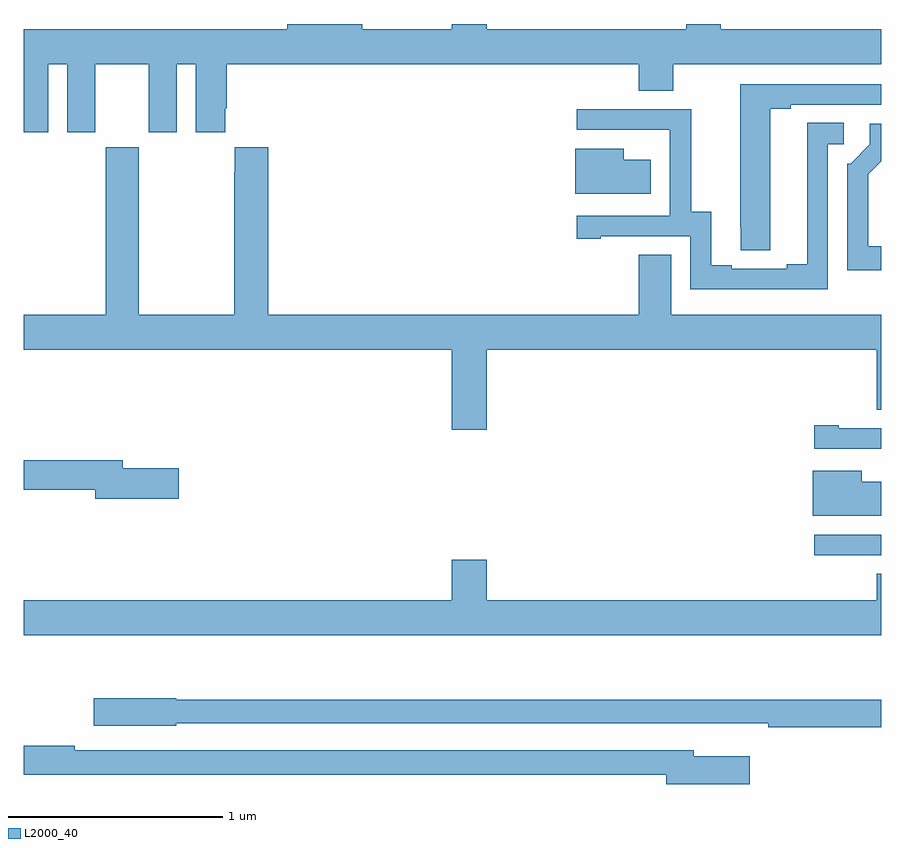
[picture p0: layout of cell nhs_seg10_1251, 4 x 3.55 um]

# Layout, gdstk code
import gdstk
lib = gdstk.Library(unit=1e-6, precision=1e-09)
def R(c, l, rs):  # rectangles x0, y0, x1, y1
    for r in rs: c.add(gdstk.rectangle(r[:2], r[2:], *l))
def P(c, l, *ps):  # polygons
    for p in ps: c.add(gdstk.Polygon(p, *l))
L2000_40 = (2000, 40)

nhs_seg10_1251 = lib.new_cell('nhs_seg10_1251')
R(nhs_seg10_1251, L2000_40, [(178.689,1302.021,179,1302.117)])
P(nhs_seg10_1251, L2000_40, [(178.091,1304.5),(178.091,1304.476),(177.16,1304.476),(177.16,1304.5),(176.996,1304.5),(176.996,1304.476),(176.578,1304.476),(176.578,1304.5),(176.228,1304.5),(176.228,1304.476),(175,1304.476),(175,1303.995),(175.114,1303.995),(175.114,1304.312),(175.202,1304.312),(175.202,1303.995),(175.333,1303.995),(175.333,1304.312),(175.583,1304.312),(175.583,1303.995),(175.714,1303.995),(175.714,1304.312),(175.802,1304.312),(175.802,1303.995),(175.939,1303.995),(175.939,1304.107),(175.946,1304.107),(175.946,1304.312),(177.869,1304.312),(177.869,1304.188),(178.029,1304.188),(178.029,1304.312),(179,1304.312),(179,1304.476),(178.251,1304.476),(178.251,1304.5)],
  [(178.483,1304.104),(178.579,1304.104),(178.579,1304.124),(179,1304.124),(179,1304.22),(178.343,1304.22),(178.343,1303.552),(178.344,1303.552),(178.344,1303.444),(178.483,1303.444)],
  [(178.752,1303.938),(178.825,1303.938),(178.825,1304.039),(178.655,1304.039),(178.655,1303.379),(178.559,1303.379),(178.559,1303.359),(178.303,1303.359),(178.303,1303.374),(178.207,1303.374),(178.207,1303.625),(178.113,1303.625),(178.113,1304.103),(177.579,1304.103),(177.579,1304.007),(178.013,1304.007),(178.013,1304.006),(178.014,1304.006),(178.014,1303.605),(177.579,1303.605),(177.579,1303.497),(177.691,1303.497),(177.691,1303.509),(178.11,1303.509),(178.11,1303.263),(178.752,1303.263)],
  [(179,1303.462),(178.939,1303.462),(178.939,1303.798),(179,1303.859),(179,1304.034),(178.947,1304.034),(178.947,1303.938),(178.857,1303.848),(178.842,1303.848),(178.842,1303.352),(179,1303.352)],
  [(177.16,1302.98),(178.979,1302.98),(178.979,1302.7),(179,1302.7),(179,1303.144),(178.021,1303.144),(178.021,1303.424),(177.869,1303.424),(177.869,1303.144),(176.141,1303.144),(176.141,1303.924),(175.985,1303.924),(175.985,1303.811),(175.981,1303.811),(175.981,1303.144),(175.536,1303.144),(175.536,1303.924),(175.381,1303.924),(175.381,1303.144),(175,1303.144),(175,1302.98),(176.996,1302.98),(176.996,1302.606),(177.16,1302.606)],
  [(177.925,1303.867),(177.799,1303.867),(177.799,1303.918),(177.572,1303.918),(177.572,1303.709),(177.925,1303.709)],
  [(179,1302.615),(178.801,1302.615),(178.801,1302.628),(178.689,1302.628),(178.689,1302.519),(179,1302.519)],
  [(175.723,1302.428),(175.462,1302.428),(175.462,1302.464),(175,1302.464),(175,1302.328),(175.334,1302.328),(175.334,1302.286),(175.723,1302.286)],
  [(179,1302.364),(178.909,1302.364),(178.909,1302.415),(178.682,1302.415),(178.682,1302.206),(179,1302.206)],
  [(179,1301.936),(178.979,1301.936),(178.979,1301.812),(177.16,1301.812),(177.16,1302.001),(176.996,1302.001),(176.996,1301.812),(175,1301.812),(175,1301.648),(179,1301.648)],
  [(179,1301.347),(175.71,1301.347),(175.71,1301.355),(175.326,1301.355),(175.326,1301.225),(175.71,1301.225),(175.71,1301.238),(178.222,1301.238),(178.222,1301.237),(178.474,1301.237),(178.474,1301.218),(179,1301.218)],
  [(178.387,1301.083),(178.126,1301.083),(178.126,1301.112),(175.238,1301.112),(175.238,1301.132),(175,1301.132),(175,1300.996),(177.998,1300.996),(177.998,1300.954),(178.387,1300.954)])

lib.write_gds('nhs_seg10_1251.gds')
